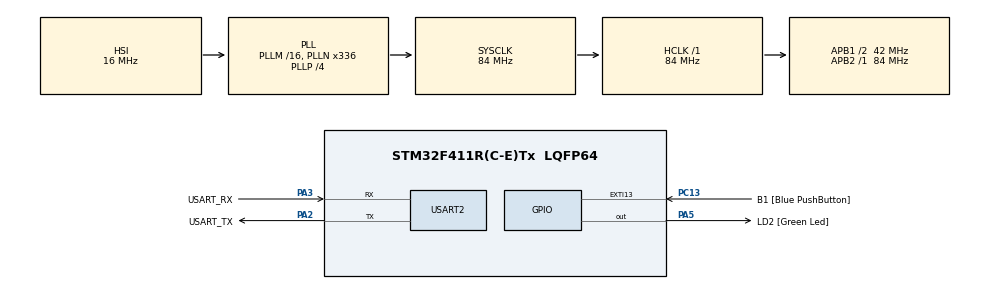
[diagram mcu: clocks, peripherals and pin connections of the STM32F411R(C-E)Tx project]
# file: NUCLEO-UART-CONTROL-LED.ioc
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Mcu.Family=STM32F4
Mcu.Name=STM32F411R(C-E)Tx
Mcu.Package=LQFP64
NVIC.PriorityGroup=NVIC_PRIORITYGROUP_0
PA13.GPIO_Label=TMS
PA13.Mode=Serial_Wire
PA13.Signal=SYS_JTMS-SWDIO
PA14.GPIO_Label=TCK
PA14.Mode=Serial_Wire
PA14.Signal=SYS_JTCK-SWCLK
PA2.GPIO_Label=USART_TX
PA2.Mode=Asynchronous
PA2.Signal=USART2_TX
PA3.GPIO_Label=USART_RX
PA3.Mode=Asynchronous
PA3.Signal=USART2_RX
PA5.GPIO_Label=LD2 [Green Led]
PA5.Signal=GPIO_Output
PB3.GPIO_Label=SWO
PB3.Signal=SYS_JTDO-SWO
PC13-ANTI_TAMP.GPIO_Label=B1 [Blue PushButton]
PC13-ANTI_TAMP.GPIO_ModeDefaultEXTI=GPIO_MODE_IT_FALLING
PC13-ANTI_TAMP.Signal=GPXTI13
PC14-OSC32_IN.Mode=LSE-External-Oscillator
PC14-OSC32_IN.Signal=RCC_OSC32_IN
PC15-OSC32_OUT.Mode=LSE-External-Oscillator
PC15-OSC32_OUT.Signal=RCC_OSC32_OUT
PH0\ -\ OSC_IN.Mode=HSE-External-Clock-Source
PH0\ -\ OSC_IN.Signal=RCC_OSC_IN
PH1\ -\ OSC_OUT.Mode=HSE-External-Clock-Source
PH1\ -\ OSC_OUT.Signal=RCC_OSC_OUT
ProjectManager.HeapSize=0x200
ProjectManager.StackSize=0x400
ProjectManager.TargetToolchain=STM32CubeIDE
RCC.48MHZClocksFreq_Value=84000000
RCC.AHBFreq_Value=84000000
RCC.APB1CLKDivider=RCC_HCLK_DIV2
RCC.APB1Freq_Value=42000000
RCC.APB1TimFreq_Value=84000000
RCC.APB2Freq_Value=84000000
RCC.APB2TimFreq_Value=84000000
RCC.CortexFreq_Value=84000000
RCC.FLatency-AdvancedSettings=FLASH_LATENCY_2
RCC.HCLKFreq_Value=84000000
RCC.HSE_VALUE=8000000
RCC.HSI_VALUE=16000000
RCC.PLLN=336
RCC.PLLP=RCC_PLLP_DIV4
RCC.SYSCLKFreq_VALUE=84000000
RCC.SYSCLKSource=RCC_SYSCLKSOURCE_PLLCLK
RCC.VCOOutputFreq_Value=336000000
USART2.VirtualMode=VM_ASYNC
board=NUCLEO-F411RE

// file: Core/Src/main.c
/* USER CODE BEGIN Header */
/**
  ******************************************************************************
  * @file           : main.c
  * @brief          : Main program body
  ******************************************************************************
  * @attention
  *
  * Copyright (c) 2025 STMicroelectronics.
  * All rights reserved.
  *
  * This software is licensed under terms that can be found in the LICENSE file
  * in the root directory of this software component.
  * If no LICENSE file comes with this software, it is provided AS-IS.
  *
  ******************************************************************************
  */
/* USER CODE END Header */
#include "main.h"

UART_HandleTypeDef huart2;

/* USER CODE BEGIN PV */
char welcomeMessage[] = "Welcome to STM32F411RE!\r\n";
char receivedData[100]; // Array to store the entered data
/* USER CODE END PV */

void SystemClock_Config(void);
static void MX_GPIO_Init(void);
static void MX_USART2_UART_Init(void);

/* USER CODE BEGIN 0 */
/* Function to clear spaces and newline characters */
void TrimString(char *str)
{
    int length = strlen(str);
    int start = 0;

    // Clear the beginning of the line (spaces and newline characters)
    while (str[start] == ' ' || str[start] == '\n' || str[start] == '\r')
    {
        start++;
    }

    // Clear the end of the line
    int end = length - 1;
    while (end >= start && (str[end] == ' ' || str[end] == '\n' || str[end] == '\r'))
    {
        end--;
    }

    // Move the cleared line to the beginning
    for (int i = 0; i <= end - start; i++)
    {
        str[i] = str[start + i];
    }
    str[end - start + 1] = '\0'; // End the line
}

void Blink_LED(uint32_t delay)
{
	UART_TransmitString("LED is blink\r\n");
    while (1)
    {
    	HAL_GPIO_TogglePin(LD2_GPIO_Port, LD2_Pin);  // Switching the LED status
    	HAL_Delay(500);  // Delay of 500 ms

    }
}
/* Function for processing UART commands */
void Process_UART_Command(char *command)
{
    if (strcmp(command, "blink") == 0)
    {
        // LED flashing at a speed of 500 ms
        Blink_LED(500);
    }
    else if (strcmp(command, "on") == 0)
    {
        // Turn on the LED
        HAL_GPIO_WritePin(LD2_GPIO_Port, LD2_Pin, GPIO_PIN_SET);
        UART_TransmitString("LED is ON\r\n");
    }
    else if (strcmp(command, "off") == 0)
    {
        // Turn off the LED
        HAL_GPIO_WritePin(LD2_GPIO_Port, LD2_Pin, GPIO_PIN_RESET);
        UART_TransmitString("LED is OFF\r\n");
    }
    else
    {
        // Unknown command
        UART_TransmitString("Invalid command!\r\n");
    }
}

/* Transferring a string via UART */
void UART_TransmitString(char *string)
{
    HAL_UART_Transmit(&huart2, (uint8_t *)string, strlen(string), HAL_MAX_DELAY);
}
/* USER CODE END 0 */

int main(void)
{

  /* MCU Configuration--------------------------------------------------------*/

  /* Reset of all peripherals, Initializes the Flash interface and the Systick. */
  HAL_Init();

  /* Configure the system clock */
  SystemClock_Config();

  /* Initialize all configured peripherals */
  MX_GPIO_Init();
  MX_USART2_UART_Init();
  /* USER CODE BEGIN 2 */
  UART_TransmitString(welcomeMessage); // Displaying a welcome message

  while (1)
  {
    uint8_t receivedChar;
    uint8_t index = 0;

    /* Wait for the command to be entered (until the Enter character) */
    while (1)
    {
      if (HAL_UART_Receive(&huart2, &receivedChar, 1, HAL_MAX_DELAY) == HAL_OK)
      {
        // Vive the symbol backwards for echo
        UART_TransmitString((char*)&receivedChar);

        if (receivedChar == '\r' || receivedChar == '\n') // End of line
        {
          receivedData[index] = '\0'; // End the line
          TrimString((char*)receivedData); // Clear a string of extra characters
          Process_UART_Command((char*)receivedData); // Processing the received command
          break; // Exit the loop after entering the command
        }
        else
        {
          receivedData[index] = receivedChar;
          index++;
          if (index >= sizeof(receivedData) - 1)
          {
            receivedData[index] = '\0';
            TrimString((char*)receivedData); // Exit the loop after entering the command
            Process_UART_Command((char*)receivedData); // Processing the received command
            break;
          }
        }
      }
    }
  }
  /* USER CODE END 2 */

  /* Infinite loop */
  while (1)
  {

  }
}

void SystemClock_Config(void)
{
  RCC_OscInitTypeDef RCC_OscInitStruct = {0};
  RCC_ClkInitTypeDef RCC_ClkInitStruct = {0};

  /** Configure the main internal regulator output voltage
  */
  __HAL_RCC_PWR_CLK_ENABLE();
  __HAL_PWR_VOLTAGESCALING_CONFIG(PWR_REGULATOR_VOLTAGE_SCALE1);

  /** Initializes the RCC Oscillators according to the specified parameters
  * in the RCC_OscInitTypeDef structure.
  */
  RCC_OscInitStruct.OscillatorType = RCC_OSCILLATORTYPE_HSI;
  RCC_OscInitStruct.HSIState = RCC_HSI_ON;
  RCC_OscInitStruct.HSICalibrationValue = RCC_HSICALIBRATION_DEFAULT;
  RCC_OscInitStruct.PLL.PLLState = RCC_PLL_ON;
  RCC_OscInitStruct.PLL.PLLSource = RCC_PLLSOURCE_HSI;
  RCC_OscInitStruct.PLL.PLLM = 16;
  RCC_OscInitStruct.PLL.PLLN = 336;
  RCC_OscInitStruct.PLL.PLLP = RCC_PLLP_DIV4;
  RCC_OscInitStruct.PLL.PLLQ = 4;
  if (HAL_RCC_OscConfig(&RCC_OscInitStruct) != HAL_OK)
  {
    Error_Handler();
  }

  /** Initializes the CPU, AHB and APB buses clocks
  */
  RCC_ClkInitStruct.ClockType = RCC_CLOCKTYPE_HCLK|RCC_CLOCKTYPE_SYSCLK
                              |RCC_CLOCKTYPE_PCLK1|RCC_CLOCKTYPE_PCLK2;
  RCC_ClkInitStruct.SYSCLKSource = RCC_SYSCLKSOURCE_PLLCLK;
  RCC_ClkInitStruct.AHBCLKDivider = RCC_SYSCLK_DIV1;
  RCC_ClkInitStruct.APB1CLKDivider = RCC_HCLK_DIV2;
  RCC_ClkInitStruct.APB2CLKDivider = RCC_HCLK_DIV1;

  if (HAL_RCC_ClockConfig(&RCC_ClkInitStruct, FLASH_LATENCY_2) != HAL_OK)
  {
    Error_Handler();
  }
}

static void MX_USART2_UART_Init(void)
{

  huart2.Instance = USART2;
  huart2.Init.BaudRate = 115200;
  huart2.Init.WordLength = UART_WORDLENGTH_8B;
  huart2.Init.StopBits = UART_STOPBITS_1;
  huart2.Init.Parity = UART_PARITY_NONE;
  huart2.Init.Mode = UART_MODE_TX_RX;
  huart2.Init.HwFlowCtl = UART_HWCONTROL_NONE;
  huart2.Init.OverSampling = UART_OVERSAMPLING_16;
  if (HAL_UART_Init(&huart2) != HAL_OK)
  {
    Error_Handler();
  }

}

static void MX_GPIO_Init(void)
{
  GPIO_InitTypeDef GPIO_InitStruct = {0};

  /* GPIO Ports Clock Enable */
  __HAL_RCC_GPIOC_CLK_ENABLE();
  __HAL_RCC_GPIOH_CLK_ENABLE();
  __HAL_RCC_GPIOA_CLK_ENABLE();
  __HAL_RCC_GPIOB_CLK_ENABLE();

  /*Configure GPIO pin Output Level */
  HAL_GPIO_WritePin(LD2_GPIO_Port, LD2_Pin, GPIO_PIN_RESET);

  /*Configure GPIO pin : B1_Pin */
  GPIO_InitStruct.Pin = B1_Pin;
  GPIO_InitStruct.Mode = GPIO_MODE_IT_FALLING;
  GPIO_InitStruct.Pull = GPIO_NOPULL;
  HAL_GPIO_Init(B1_GPIO_Port, &GPIO_InitStruct);

  /*Configure GPIO pin : LD2_Pin */
  GPIO_InitStruct.Pin = LD2_Pin;
  GPIO_InitStruct.Mode = GPIO_MODE_OUTPUT_PP;
  GPIO_InitStruct.Pull = GPIO_NOPULL;
  GPIO_InitStruct.Speed = GPIO_SPEED_FREQ_LOW;
  HAL_GPIO_Init(LD2_GPIO_Port, &GPIO_InitStruct);

}

void Error_Handler(void)
{
  __disable_irq();
  while (1)
  {
  }
}
